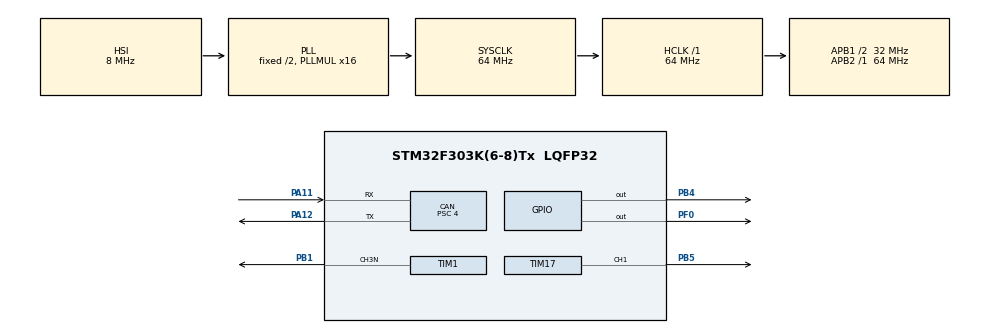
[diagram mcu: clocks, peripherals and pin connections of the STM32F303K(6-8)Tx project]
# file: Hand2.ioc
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CAN.BS1=CAN_BS1_13TQ
CAN.BS2=CAN_BS2_4TQ
CAN.CalculateBaudRate=444444
CAN.CalculateTimeBit=2250.00
CAN.CalculateTimeQuantum=125.0
CAN.Prescaler=4
Mcu.Family=STM32F3
Mcu.Name=STM32F303K(6-8)Tx
Mcu.Package=LQFP32
NVIC.CAN_RX0_IRQn=true\:0\:0\:false\:false\:true\:true\:true
NVIC.PriorityGroup=NVIC_PRIORITYGROUP_4
NVIC.TIM1_TRG_COM_TIM17_IRQn=true\:0\:0\:false\:false\:true\:true\:true
PA11.Mode=CAN_Activate
PA11.Signal=CAN_RX
PA12.Mode=CAN_Activate
PA12.Signal=CAN_TX
PB1.Mode=PWM Generation3 CH3N
PB1.Signal=TIM1_CH3N
PB4.Signal=GPIO_Output
PB5.Signal=S_TIM17_CH1
PF0\ /\ OSC_IN.Signal=GPIO_Output
ProjectManager.HeapSize=0x200
ProjectManager.StackSize=0x400
ProjectManager.TargetToolchain=STM32CubeIDE
RCC.AHBFreq_Value=64000000
RCC.APB1CLKDivider=RCC_HCLK_DIV2
RCC.APB1Freq_Value=32000000
RCC.APB1TimFreq_Value=64000000
RCC.APB2Freq_Value=64000000
RCC.APB2TimFreq_Value=64000000
RCC.CortexFreq_Value=64000000
RCC.HCLKFreq_Value=64000000
RCC.HSE_VALUE=8000000
RCC.HSI_VALUE=8000000
RCC.PLLMUL=RCC_PLL_MUL16
RCC.SYSCLKFreq_VALUE=64000000
RCC.SYSCLKSourceVirtual=RCC_SYSCLKSOURCE_PLLCLK
SH.S_TIM17_CH1.0=TIM17_CH1,PWM Generation1 CH1
TIM1.Channel-PWM\ Generation3\ CH3N=TIM_CHANNEL_3
TIM1.Period=999
TIM1.Prescaler=31
TIM17.Channel=TIM_CHANNEL_1
TIM17.Period=999
TIM17.Prescaler=31
VP_TIM17_VS_ClockSourceINT.Mode=Enable_Timer
VP_TIM1_VS_ClockSourceINT.Mode=Internal
board=custom

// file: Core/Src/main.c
/* USER CODE BEGIN Header */
/**
  ******************************************************************************
  * @file           : main.c
  * @brief          : Main program body
  ******************************************************************************
  * @attention
  *
  * <h2><center>&copy; Copyright (c) 2021 STMicroelectronics.
  * All rights reserved.</center></h2>
  *
  * This software component is licensed by ST under BSD 3-Clause license,
  * the "License"; You may not use this file except in compliance with the
  * License. You may obtain a copy of the License at:
  *                        opensource.org/licenses/BSD-3-Clause
  *
  ******************************************************************************
  */
/* USER CODE END Header */
#include "main.h"

CAN_HandleTypeDef hcan;

TIM_HandleTypeDef htim1;
TIM_HandleTypeDef htim17;

void SystemClock_Config(void);
static void MX_GPIO_Init(void);
static void MX_CAN_Init(void);
static void MX_TIM1_Init(void);
static void MX_TIM17_Init(void);

/* USER CODE BEGIN 0 */

CAN_FilterTypeDef filter;
void Filter_Init(){
	filter.FilterIdHigh         = 0;
	filter.FilterIdLow          = 0;
	filter.FilterMaskIdHigh     = 0;
	filter.FilterMaskIdLow      = 0;
	filter.FilterScale          = CAN_FILTERSCALE_32BIT;
	filter.FilterFIFOAssignment = CAN_FILTER_FIFO0;
	filter.FilterBank           = 0;
	filter.FilterMode           = CAN_FILTERMODE_IDMASK;
	filter.SlaveStartFilterBank = 14;
	filter.FilterActivation     = ENABLE;
	HAL_CAN_ConfigFilter(&hcan, &filter);
}

uint32_t id;
uint32_t dlc;
uint8_t data[8];

int adjust_speed=1;

CAN_TxHeaderTypeDef TxHeader;
uint32_t TxMailbox;
uint8_t TxData[8];

#define SHRINK_SPEED 260
#define ROTATE_speed 200

void HAL_CAN_RxFifo0MsgPendingCallback(CAN_HandleTypeDef *hcan)
{

	CAN_RxHeaderTypeDef RxHeader;
	uint8_t RxData[8];

    if (HAL_CAN_GetRxMessage(hcan, CAN_RX_FIFO0, &RxHeader, RxData) == HAL_OK)
    {
    	if(RxHeader.StdId==0x552){
			id = (RxHeader.IDE == CAN_ID_STD)? RxHeader.StdId : RxHeader.ExtId;
			dlc = RxHeader.DLC;
			if(RxData[7]=='N'){
				adjust_speed=1;
			}
			else{
				adjust_speed=2;
			}

			if(RxData[2]=='S'){
				HAL_GPIO_WritePin(GPIOF, GPIO_PIN_0, GPIO_PIN_SET);
				__HAL_TIM_SET_COMPARE(&htim1,TIM_CHANNEL_3,SHRINK_SPEED / adjust_speed);
			}
			else if(RxData[2]=='E'){
				HAL_GPIO_WritePin(GPIOF, GPIO_PIN_0, GPIO_PIN_RESET);
				__HAL_TIM_SET_COMPARE(&htim1,TIM_CHANNEL_3,SHRINK_SPEED / adjust_speed);
			}
			else if(RxData[2]=='N'){
				//HAL_GPIO_WritePin(GPIOF, GPIO_PIN_0, GPIO_PIN_RESET);
				__HAL_TIM_SET_COMPARE(&htim1,TIM_CHANNEL_3, 0);
			}

			if(RxData[4]=='L'){
				HAL_GPIO_WritePin(GPIOB, GPIO_PIN_4, GPIO_PIN_RESET);
				__HAL_TIM_SET_COMPARE(&htim17,TIM_CHANNEL_1, ROTATE_speed);
			}
			else if(RxData[4]=='R'){
				HAL_GPIO_WritePin(GPIOB, GPIO_PIN_4, GPIO_PIN_SET);
				__HAL_TIM_SET_COMPARE(&htim17,TIM_CHANNEL_1, ROTATE_speed);
			}
			else if(RxData[4]=='N'){
				//HAL_GPIO_WritePin(GPIOB, GPIO_PIN_4, GPIO_PIN_RESET);
				__HAL_TIM_SET_COMPARE(&htim17,TIM_CHANNEL_1, 0);
			}

			data[0] = RxData[0];
			data[1] = RxData[1];
			data[3] = RxData[3];
			data[5] = RxData[5];
			data[6] = RxData[6];
			data[7] = RxData[7];
    	}
    }

}

/* USER CODE END 0 */

int main(void)
{

  /* MCU Configuration--------------------------------------------------------*/

  /* Reset of all peripherals, Initializes the Flash interface and the Systick. */
  HAL_Init();

  /* Configure the system clock */
  SystemClock_Config();

  /* Initialize all configured peripherals */
  MX_GPIO_Init();
  MX_CAN_Init();
  MX_TIM1_Init();
  MX_TIM17_Init();
  /* USER CODE BEGIN 2 */
	if(HAL_TIM_PWM_Start(&htim17, TIM_CHANNEL_1)!=HAL_OK){
	  Error_Handler();
	}

  HAL_CAN_Start(&hcan);
  Filter_Init();
  HAL_CAN_ActivateNotification(&hcan, CAN_IT_RX_FIFO0_MSG_PENDING);

  HAL_TIM_Base_Start(&htim1);
  HAL_TIM_PWM_Start(&htim1, TIM_CHANNEL_3);
  TIM_CCxChannelCmd(htim1.Instance, TIM_CHANNEL_3, TIM_CCxN_ENABLE);

  /* USER CODE END 2 */

  /* Infinite loop */
  while (1)
  {

  }
}

void SystemClock_Config(void)
{
  RCC_OscInitTypeDef RCC_OscInitStruct = {0};
  RCC_ClkInitTypeDef RCC_ClkInitStruct = {0};
  RCC_PeriphCLKInitTypeDef PeriphClkInit = {0};

  /** Initializes the RCC Oscillators according to the specified parameters
  * in the RCC_OscInitTypeDef structure.
  */
  RCC_OscInitStruct.OscillatorType = RCC_OSCILLATORTYPE_HSI;
  RCC_OscInitStruct.HSIState = RCC_HSI_ON;
  RCC_OscInitStruct.HSICalibrationValue = RCC_HSICALIBRATION_DEFAULT;
  RCC_OscInitStruct.PLL.PLLState = RCC_PLL_ON;
  RCC_OscInitStruct.PLL.PLLSource = RCC_PLLSOURCE_HSI;
  RCC_OscInitStruct.PLL.PLLMUL = RCC_PLL_MUL16;
  if (HAL_RCC_OscConfig(&RCC_OscInitStruct) != HAL_OK)
  {
    Error_Handler();
  }
  /** Initializes the CPU, AHB and APB buses clocks
  */
  RCC_ClkInitStruct.ClockType = RCC_CLOCKTYPE_HCLK|RCC_CLOCKTYPE_SYSCLK
                              |RCC_CLOCKTYPE_PCLK1|RCC_CLOCKTYPE_PCLK2;
  RCC_ClkInitStruct.SYSCLKSource = RCC_SYSCLKSOURCE_PLLCLK;
  RCC_ClkInitStruct.AHBCLKDivider = RCC_SYSCLK_DIV1;
  RCC_ClkInitStruct.APB1CLKDivider = RCC_HCLK_DIV2;
  RCC_ClkInitStruct.APB2CLKDivider = RCC_HCLK_DIV1;

  if (HAL_RCC_ClockConfig(&RCC_ClkInitStruct, FLASH_LATENCY_2) != HAL_OK)
  {
    Error_Handler();
  }
  PeriphClkInit.PeriphClockSelection = RCC_PERIPHCLK_TIM1;
  PeriphClkInit.Tim1ClockSelection = RCC_TIM1CLK_HCLK;
  if (HAL_RCCEx_PeriphCLKConfig(&PeriphClkInit) != HAL_OK)
  {
    Error_Handler();
  }
}

static void MX_CAN_Init(void)
{

  hcan.Instance = CAN;
  hcan.Init.Prescaler = 4;
  hcan.Init.Mode = CAN_MODE_NORMAL;
  hcan.Init.SyncJumpWidth = CAN_SJW_1TQ;
  hcan.Init.TimeSeg1 = CAN_BS1_13TQ;
  hcan.Init.TimeSeg2 = CAN_BS2_4TQ;
  hcan.Init.TimeTriggeredMode = DISABLE;
  hcan.Init.AutoBusOff = DISABLE;
  hcan.Init.AutoWakeUp = DISABLE;
  hcan.Init.AutoRetransmission = DISABLE;
  hcan.Init.ReceiveFifoLocked = DISABLE;
  hcan.Init.TransmitFifoPriority = DISABLE;
  if (HAL_CAN_Init(&hcan) != HAL_OK)
  {
    Error_Handler();
  }

}

static void MX_TIM1_Init(void)
{

  TIM_ClockConfigTypeDef sClockSourceConfig = {0};
  TIM_MasterConfigTypeDef sMasterConfig = {0};
  TIM_OC_InitTypeDef sConfigOC = {0};
  TIM_BreakDeadTimeConfigTypeDef sBreakDeadTimeConfig = {0};

  htim1.Instance = TIM1;
  htim1.Init.Prescaler = 31;
  htim1.Init.CounterMode = TIM_COUNTERMODE_UP;
  htim1.Init.Period = 999;
  htim1.Init.ClockDivision = TIM_CLOCKDIVISION_DIV1;
  htim1.Init.RepetitionCounter = 0;
  htim1.Init.AutoReloadPreload = TIM_AUTORELOAD_PRELOAD_DISABLE;
  if (HAL_TIM_Base_Init(&htim1) != HAL_OK)
  {
    Error_Handler();
  }
  sClockSourceConfig.ClockSource = TIM_CLOCKSOURCE_INTERNAL;
  if (HAL_TIM_ConfigClockSource(&htim1, &sClockSourceConfig) != HAL_OK)
  {
    Error_Handler();
  }
  if (HAL_TIM_PWM_Init(&htim1) != HAL_OK)
  {
    Error_Handler();
  }
  sMasterConfig.MasterOutputTrigger = TIM_TRGO_RESET;
  sMasterConfig.MasterOutputTrigger2 = TIM_TRGO2_RESET;
  sMasterConfig.MasterSlaveMode = TIM_MASTERSLAVEMODE_DISABLE;
  if (HAL_TIMEx_MasterConfigSynchronization(&htim1, &sMasterConfig) != HAL_OK)
  {
    Error_Handler();
  }
  sConfigOC.OCMode = TIM_OCMODE_PWM1;
  sConfigOC.Pulse = 0;
  sConfigOC.OCPolarity = TIM_OCPOLARITY_HIGH;
  sConfigOC.OCNPolarity = TIM_OCNPOLARITY_HIGH;
  sConfigOC.OCFastMode = TIM_OCFAST_DISABLE;
  sConfigOC.OCIdleState = TIM_OCIDLESTATE_RESET;
  sConfigOC.OCNIdleState = TIM_OCNIDLESTATE_RESET;
  if (HAL_TIM_PWM_ConfigChannel(&htim1, &sConfigOC, TIM_CHANNEL_3) != HAL_OK)
  {
    Error_Handler();
  }
  sBreakDeadTimeConfig.OffStateRunMode = TIM_OSSR_DISABLE;
  sBreakDeadTimeConfig.OffStateIDLEMode = TIM_OSSI_DISABLE;
  sBreakDeadTimeConfig.LockLevel = TIM_LOCKLEVEL_OFF;
  sBreakDeadTimeConfig.DeadTime = 0;
  sBreakDeadTimeConfig.BreakState = TIM_BREAK_DISABLE;
  sBreakDeadTimeConfig.BreakPolarity = TIM_BREAKPOLARITY_HIGH;
  sBreakDeadTimeConfig.BreakFilter = 0;
  sBreakDeadTimeConfig.Break2State = TIM_BREAK2_DISABLE;
  sBreakDeadTimeConfig.Break2Polarity = TIM_BREAK2POLARITY_HIGH;
  sBreakDeadTimeConfig.Break2Filter = 0;
  sBreakDeadTimeConfig.AutomaticOutput = TIM_AUTOMATICOUTPUT_DISABLE;
  if (HAL_TIMEx_ConfigBreakDeadTime(&htim1, &sBreakDeadTimeConfig) != HAL_OK)
  {
    Error_Handler();
  }
  HAL_TIM_MspPostInit(&htim1);

}

static void MX_TIM17_Init(void)
{

  TIM_OC_InitTypeDef sConfigOC = {0};
  TIM_BreakDeadTimeConfigTypeDef sBreakDeadTimeConfig = {0};

  htim17.Instance = TIM17;
  htim17.Init.Prescaler = 31;
  htim17.Init.CounterMode = TIM_COUNTERMODE_UP;
  htim17.Init.Period = 999;
  htim17.Init.ClockDivision = TIM_CLOCKDIVISION_DIV1;
  htim17.Init.RepetitionCounter = 0;
  htim17.Init.AutoReloadPreload = TIM_AUTORELOAD_PRELOAD_DISABLE;
  if (HAL_TIM_Base_Init(&htim17) != HAL_OK)
  {
    Error_Handler();
  }
  if (HAL_TIM_PWM_Init(&htim17) != HAL_OK)
  {
    Error_Handler();
  }
  sConfigOC.OCMode = TIM_OCMODE_PWM1;
  sConfigOC.Pulse = 0;
  sConfigOC.OCPolarity = TIM_OCPOLARITY_HIGH;
  sConfigOC.OCNPolarity = TIM_OCNPOLARITY_HIGH;
  sConfigOC.OCFastMode = TIM_OCFAST_DISABLE;
  sConfigOC.OCIdleState = TIM_OCIDLESTATE_RESET;
  sConfigOC.OCNIdleState = TIM_OCNIDLESTATE_RESET;
  if (HAL_TIM_PWM_ConfigChannel(&htim17, &sConfigOC, TIM_CHANNEL_1) != HAL_OK)
  {
    Error_Handler();
  }
  sBreakDeadTimeConfig.OffStateRunMode = TIM_OSSR_DISABLE;
  sBreakDeadTimeConfig.OffStateIDLEMode = TIM_OSSI_DISABLE;
  sBreakDeadTimeConfig.LockLevel = TIM_LOCKLEVEL_OFF;
  sBreakDeadTimeConfig.DeadTime = 0;
  sBreakDeadTimeConfig.BreakState = TIM_BREAK_DISABLE;
  sBreakDeadTimeConfig.BreakPolarity = TIM_BREAKPOLARITY_HIGH;
  sBreakDeadTimeConfig.BreakFilter = 0;
  sBreakDeadTimeConfig.AutomaticOutput = TIM_AUTOMATICOUTPUT_DISABLE;
  if (HAL_TIMEx_ConfigBreakDeadTime(&htim17, &sBreakDeadTimeConfig) != HAL_OK)
  {
    Error_Handler();
  }
  HAL_TIM_MspPostInit(&htim17);

}

static void MX_GPIO_Init(void)
{
  GPIO_InitTypeDef GPIO_InitStruct = {0};

  /* GPIO Ports Clock Enable */
  __HAL_RCC_GPIOF_CLK_ENABLE();
  __HAL_RCC_GPIOB_CLK_ENABLE();
  __HAL_RCC_GPIOA_CLK_ENABLE();

  /*Configure GPIO pin Output Level */
  HAL_GPIO_WritePin(GPIOF, GPIO_PIN_0, GPIO_PIN_RESET);

  /*Configure GPIO pin Output Level */
  HAL_GPIO_WritePin(GPIOB, GPIO_PIN_4, GPIO_PIN_RESET);

  /*Configure GPIO pin : PF0 */
  GPIO_InitStruct.Pin = GPIO_PIN_0;
  GPIO_InitStruct.Mode = GPIO_MODE_OUTPUT_PP;
  GPIO_InitStruct.Pull = GPIO_NOPULL;
  GPIO_InitStruct.Speed = GPIO_SPEED_FREQ_LOW;
  HAL_GPIO_Init(GPIOF, &GPIO_InitStruct);

  /*Configure GPIO pin : PB4 */
  GPIO_InitStruct.Pin = GPIO_PIN_4;
  GPIO_InitStruct.Mode = GPIO_MODE_OUTPUT_PP;
  GPIO_InitStruct.Pull = GPIO_NOPULL;
  GPIO_InitStruct.Speed = GPIO_SPEED_FREQ_LOW;
  HAL_GPIO_Init(GPIOB, &GPIO_InitStruct);

}

void Error_Handler(void)
{
  __disable_irq();
  while (1)
  {
  }
}

/************************ (C) COPYRIGHT STMicroelectronics *****END OF FILE****/
